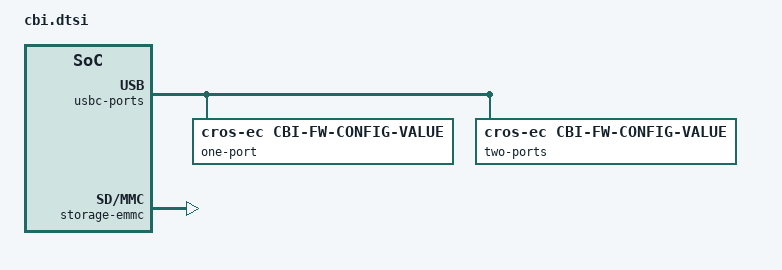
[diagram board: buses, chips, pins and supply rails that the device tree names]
/* Copyright 2025 The ChromiumOS Authors
 * Use of this source code is governed by a BSD-style license that can be
 * found in the LICENSE file.
 */

/ {
/* Kaladin-specific fw_config fields. */
	trulo-fw-config {
		compatible = "cros-ec,cbi-fw-config";
		/*
		 * FW_CONFIG field to indicate tablet mode present
		 * or absent.
		 */
		tablet_mode {
			enum-name = "FW_TABLET";
			start = <0>;
			size = <1>;

			absent {
				compatible = "cros-ec,cbi-fw-config-value";
				enum-name = "FW_TABLET_ABSENT";
				value = <0>;
			};
			present {
				compatible = "cros-ec,cbi-fw-config-value";
				enum-name = "FW_TABLET_PRESENT";
				value = <1>;
			};
		};
		/*
		 * FW_CONFIG field to defined for THERMAL SOLUTION.
		 */
		thermal-solution {
			enum-name = "FW_THERMAL_SOLUTION";
			start = <1>;
			size = <1>;

			thermal-solution-6w {
				compatible = "cros-ec,cbi-fw-config-value";
				enum-name = "FW_THERMAL_SOLUTION_6W";
				value = <0>;
			};
			thermal-solution-15w {
				compatible = "cros-ec,cbi-fw-config-value";
				enum-name = "FW_THERMAL_SOLUTION_15W";
				value = <1>;
			};
		};

		/*
		 * FW_CONFIG field to difined the number of mainboard type-c port.
		 */
		usbc-ports {
			enum-name = "USBC_PORTS";
			start = <2>;
			size = <1>;

			one-port {
				compatible = "cros-ec,cbi-fw-config-value";
				enum-name = "ONE_PORT";
				value = <0>;
				default;
			};
			two-ports {
				compatible = "cros-ec,cbi-fw-config-value";
				enum-name = "TWO_PORTS";
				value = <1>;
			};
		};

		/*
		 * FW_CONFIG field to defined the ISH to sensor.
		 */
		ish {
			enum-name = "ISH";
			start = <3>;
			size = <1>;

			ish-disabled {
				compatible = "cros-ec,cbi-fw-config-value";
				enum-name = "ISH_DISABLED";
				value = <0>;
				default;
			};
			ish-enabled {
				compatible = "cros-ec,cbi-fw-config-value";
				enum-name = "ISH_ENABLED";
				value = <1>;
			};
		};

		/*
		 * FW_CONFIG field to defined panel type.
		 */
		panel {
			enum-name = "FW_PANEL";
			start = <4>;
			size = <2>;

			panel-top-elan {
				compatible = "cros-ec,cbi-fw-config-value";
				enum-name = "PANEL_TOP_ELAN";
				value = <0>;
				default;
			};
			panel-dbts-elan {
				compatible = "cros-ec,cbi-fw-config-value";
				enum-name = "PANEL_DBTS";
				value = <1>;
			};
			panel-top-gth563 {
				compatible = "cros-ec,cbi-fw-config-value";
				enum-name = "PANEL_TOP_GTH1563";
				value = <2>;
				default;
			};
			panel-top-gth7503 {
				compatible = "cros-ec,cbi-fw-config-value";
				enum-name = "PANEL_TOP_GTH7503";
				value = <3>;
			};
		};

		/*
		 * FW_CONFIG field to enable KB backlight or not.
		 */
		kb-bl {
			enum-name = "FW_KB_BL";
			start = <10>;
			size = <1>;

			no-kb-bl {
				compatible = "cros-ec,cbi-fw-config-value";
				enum-name = "FW_KB_BL_NOT_PRESENT";
				value = <0>;
				default;
			};
			kb-bl-present {
				compatible = "cros-ec,cbi-fw-config-value";
				enum-name = "FW_KB_BL_PRESENT";
				value = <1>;
			};
		};
		/*
		 * FW_CONFIG field to change scancode setting for special
		 * keyboard type.
		 */
		kb-type {
			enum-name = "FW_KB_LAYOUT";
			start = <11>;
			size = <2>;

			kb-type-default {
				compatible = "cros-ec,cbi-fw-config-value";
				enum-name = "FW_KB_LAYOUT_DEFAULT";
				value = <0>;
			};
			kb-type-us2 {
				compatible = "cros-ec,cbi-fw-config-value";
				enum-name = "FW_KB_LAYOUT_US2";
				value = <1>;
			};
			kb-type-jp {
				compatible = "cros-ec,cbi-fw-config-value";
				enum-name = "FW_KB_LAYOUT_JP";
				value = <2>;
			};
		};
		/*
		 * FW_CONFIG field to defined for STORAGE TYPE.
		 */
		storage {
			enum-name = "FW_STORAGE";
			start = <30>;
			size = <2>;

			storage-emmc {
				compatible = "cros-ec,cbi-fw-config-value";
				enum-name = "FW_STORAGE_EMMC";
				value = <0>;
			};
			storage-nvme {
				compatible = "cros-ec,cbi-fw-config-value";
				enum-name = "FW_STORAGE_NVME";
				value = <1>;
			};
			storage-ufs {
				compatible = "cros-ec,cbi-fw-config-value";
				enum-name = "FW_STORAGE_UFS";
				value = <2>;
			};
			storage-unknown {
				compatible = "cros-ec,cbi-fw-config-value";
				enum-name = "FW_STORAGE_UNKNOWN";
				value = <3>;
			};
		};
	};
};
